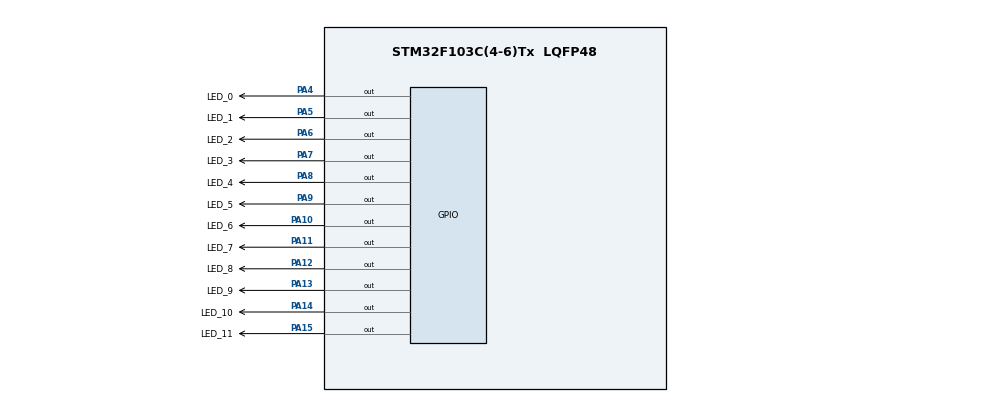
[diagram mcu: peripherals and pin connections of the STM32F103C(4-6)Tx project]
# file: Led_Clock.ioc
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Mcu.Family=STM32F1
Mcu.Name=STM32F103C(4-6)Tx
Mcu.Package=LQFP48
NVIC.PriorityGroup=NVIC_PRIORITYGROUP_4
PA10.GPIO_Label=LED_6
PA10.Signal=GPIO_Output
PA11.GPIO_Label=LED_7
PA11.Signal=GPIO_Output
PA12.GPIO_Label=LED_8
PA12.Signal=GPIO_Output
PA13.GPIO_Label=LED_9
PA13.Signal=GPIO_Output
PA14.GPIO_Label=LED_10
PA14.Signal=GPIO_Output
PA15.GPIO_Label=LED_11
PA15.Signal=GPIO_Output
PA4.GPIO_Label=LED_0
PA4.Signal=GPIO_Output
PA5.GPIO_Label=LED_1
PA5.Signal=GPIO_Output
PA6.GPIO_Label=LED_2
PA6.Signal=GPIO_Output
PA7.GPIO_Label=LED_3
PA7.Signal=GPIO_Output
PA8.GPIO_Label=LED_4
PA8.Signal=GPIO_Output
PA9.GPIO_Label=LED_5
PA9.Signal=GPIO_Output
ProjectManager.HeapSize=0x200
ProjectManager.StackSize=0x400
ProjectManager.TargetToolchain=STM32CubeIDE
RCC.APB1Freq_Value=8000000
RCC.APB2Freq_Value=8000000
VP_SYS_VS_ND.Mode=No_Debug
board=custom

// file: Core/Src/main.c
/* USER CODE BEGIN Header */
/**
  ******************************************************************************
  * @file           : main.c
  * @brief          : Main program body
  ******************************************************************************
  * @attention
  *
  * <h2><center>&copy; Copyright (c) 2021 STMicroelectronics.
  * All rights reserved.</center></h2>
  *
  * This software component is licensed by ST under BSD 3-Clause license,
  * the "License"; You may not use this file except in compliance with the
  * License. You may obtain a copy of the License at:
  *                        opensource.org/licenses/BSD-3-Clause
  *
  ******************************************************************************
  */
/* USER CODE END Header */
#include "main.h"

void SystemClock_Config(void);
static void MX_GPIO_Init(void);

void clearAllClock(){
				HAL_GPIO_WritePin(LED_0_GPIO_Port, LED_0_Pin, GPIO_PIN_SET);
				HAL_GPIO_WritePin(LED_1_GPIO_Port, LED_1_Pin, GPIO_PIN_SET);
				HAL_GPIO_WritePin(LED_2_GPIO_Port, LED_2_Pin, GPIO_PIN_SET);
				HAL_GPIO_WritePin(LED_3_GPIO_Port, LED_3_Pin, GPIO_PIN_SET);
				HAL_GPIO_WritePin(LED_4_GPIO_Port, LED_4_Pin, GPIO_PIN_SET);
				HAL_GPIO_WritePin(LED_5_GPIO_Port, LED_5_Pin, GPIO_PIN_SET);
				HAL_GPIO_WritePin(LED_6_GPIO_Port, LED_6_Pin, GPIO_PIN_SET);
				HAL_GPIO_WritePin(LED_7_GPIO_Port, LED_7_Pin, GPIO_PIN_SET);
				HAL_GPIO_WritePin(LED_8_GPIO_Port, LED_8_Pin, GPIO_PIN_SET);
				HAL_GPIO_WritePin(LED_9_GPIO_Port, LED_9_Pin, GPIO_PIN_SET);
				HAL_GPIO_WritePin(LED_10_GPIO_Port, LED_10_Pin, GPIO_PIN_SET);
				HAL_GPIO_WritePin(LED_11_GPIO_Port, LED_11_Pin, GPIO_PIN_SET);
}
void setNumberOnClock(int num){
	switch (num){
	case 0:
				HAL_GPIO_WritePin(LED_0_GPIO_Port, LED_0_Pin, GPIO_PIN_RESET);

				break;
	case 1:
				HAL_GPIO_WritePin(LED_1_GPIO_Port, LED_1_Pin, GPIO_PIN_RESET);

				break;
	case 2:

				HAL_GPIO_WritePin(LED_2_GPIO_Port, LED_2_Pin, GPIO_PIN_RESET);

				break;
	case 3:

				HAL_GPIO_WritePin(LED_3_GPIO_Port, LED_3_Pin, GPIO_PIN_RESET);

				break;
	case 4:

				HAL_GPIO_WritePin(LED_4_GPIO_Port, LED_4_Pin, GPIO_PIN_RESET);

				break;
	case 5:

				HAL_GPIO_WritePin(LED_5_GPIO_Port, LED_5_Pin, GPIO_PIN_RESET);

				break;
	case 6:

				HAL_GPIO_WritePin(LED_6_GPIO_Port, LED_6_Pin, GPIO_PIN_RESET);

				break;
	case 7:

				HAL_GPIO_WritePin(LED_7_GPIO_Port, LED_7_Pin, GPIO_PIN_RESET);

				break;
	case 8:

				HAL_GPIO_WritePin(LED_8_GPIO_Port, LED_8_Pin, GPIO_PIN_RESET);

				break;
	case 9:

				HAL_GPIO_WritePin(LED_9_GPIO_Port, LED_9_Pin, GPIO_PIN_RESET);

				break;
	case 10:

				HAL_GPIO_WritePin(LED_10_GPIO_Port, LED_10_Pin, GPIO_PIN_RESET);

				break;
	case 11:

				HAL_GPIO_WritePin(LED_11_GPIO_Port, LED_11_Pin, GPIO_PIN_RESET);
				break;
	default:	clearAllClock();

	}
}
void clearNumberOnClock(int num){
	switch (num){
	case 0: clearAllClock(); break;
	case 1: clearAllClock(); break;
	case 2: clearAllClock(); break;
	case 3: clearAllClock(); break;
	case 4: clearAllClock(); break;
	case 5: clearAllClock(); break;
	case 6: clearAllClock(); break;
	case 7: clearAllClock(); break;
	case 8: clearAllClock(); break;
	case 9: clearAllClock(); break;
	case 10: clearAllClock(); break;
	case 11: clearAllClock(); break;
	default: clearAllClock();
	}
}
int main(void)
{

  /* MCU Configuration--------------------------------------------------------*/

  /* Reset of all peripherals, Initializes the Flash interface and the Systick. */
  HAL_Init();

  /* Configure the system clock */
  SystemClock_Config();

  /* Initialize all configured peripherals */
  MX_GPIO_Init();

  /* Infinite loop */
  /* USER CODE BEGIN WHILE */
  int h=0;
  int m=0;
  int s=0;
  while (1)
  {
	  	  clearAllClock();
	  	  setNumberOnClock(h);
	  	  setNumberOnClock(m);
	  	  setNumberOnClock(s++);

	  	  if(s>=12){
	  	  		s=0;
	  	  		setNumberOnClock(m++);
	  	  }
	  	  if(m>=12){
	  		  m=0;
	  		  setNumberOnClock(h++);
	  	  }
	  	  if(h>=12) h=0;
	  	  HAL_Delay(100);
    /* USER CODE END WHILE */
  }
}

void SystemClock_Config(void)
{
  RCC_OscInitTypeDef RCC_OscInitStruct = {0};
  RCC_ClkInitTypeDef RCC_ClkInitStruct = {0};

  /** Initializes the RCC Oscillators according to the specified parameters
  * in the RCC_OscInitTypeDef structure.
  */
  RCC_OscInitStruct.OscillatorType = RCC_OSCILLATORTYPE_HSI;
  RCC_OscInitStruct.HSIState = RCC_HSI_ON;
  RCC_OscInitStruct.HSICalibrationValue = RCC_HSICALIBRATION_DEFAULT;
  RCC_OscInitStruct.PLL.PLLState = RCC_PLL_NONE;
  if (HAL_RCC_OscConfig(&RCC_OscInitStruct) != HAL_OK)
  {
    Error_Handler();
  }
  /** Initializes the CPU, AHB and APB buses clocks
  */
  RCC_ClkInitStruct.ClockType = RCC_CLOCKTYPE_HCLK|RCC_CLOCKTYPE_SYSCLK
                              |RCC_CLOCKTYPE_PCLK1|RCC_CLOCKTYPE_PCLK2;
  RCC_ClkInitStruct.SYSCLKSource = RCC_SYSCLKSOURCE_HSI;
  RCC_ClkInitStruct.AHBCLKDivider = RCC_SYSCLK_DIV1;
  RCC_ClkInitStruct.APB1CLKDivider = RCC_HCLK_DIV1;
  RCC_ClkInitStruct.APB2CLKDivider = RCC_HCLK_DIV1;

  if (HAL_RCC_ClockConfig(&RCC_ClkInitStruct, FLASH_LATENCY_0) != HAL_OK)
  {
    Error_Handler();
  }
}

static void MX_GPIO_Init(void)
{
  GPIO_InitTypeDef GPIO_InitStruct = {0};

  /* GPIO Ports Clock Enable */
  __HAL_RCC_GPIOA_CLK_ENABLE();

  /*Configure GPIO pin Output Level */
  HAL_GPIO_WritePin(GPIOA, LED_0_Pin|LED_1_Pin|LED_2_Pin|LED_3_Pin
                          |LED_4_Pin|LED_5_Pin|LED_6_Pin|LED_7_Pin
                          |LED_8_Pin|LED_9_Pin|LED_10_Pin|LED_11_Pin, GPIO_PIN_RESET);

  /*Configure GPIO pins : LED_0_Pin LED_1_Pin LED_2_Pin LED_3_Pin
                           LED_4_Pin LED_5_Pin LED_6_Pin LED_7_Pin
                           LED_8_Pin LED_9_Pin LED_10_Pin LED_11_Pin */
  GPIO_InitStruct.Pin = LED_0_Pin|LED_1_Pin|LED_2_Pin|LED_3_Pin
                          |LED_4_Pin|LED_5_Pin|LED_6_Pin|LED_7_Pin
                          |LED_8_Pin|LED_9_Pin|LED_10_Pin|LED_11_Pin;
  GPIO_InitStruct.Mode = GPIO_MODE_OUTPUT_PP;
  GPIO_InitStruct.Pull = GPIO_NOPULL;
  GPIO_InitStruct.Speed = GPIO_SPEED_FREQ_LOW;
  HAL_GPIO_Init(GPIOA, &GPIO_InitStruct);

}

void Error_Handler(void)
{
  __disable_irq();
  while (1)
  {
  }
}

/************************ (C) COPYRIGHT STMicroelectronics *****END OF FILE****/
